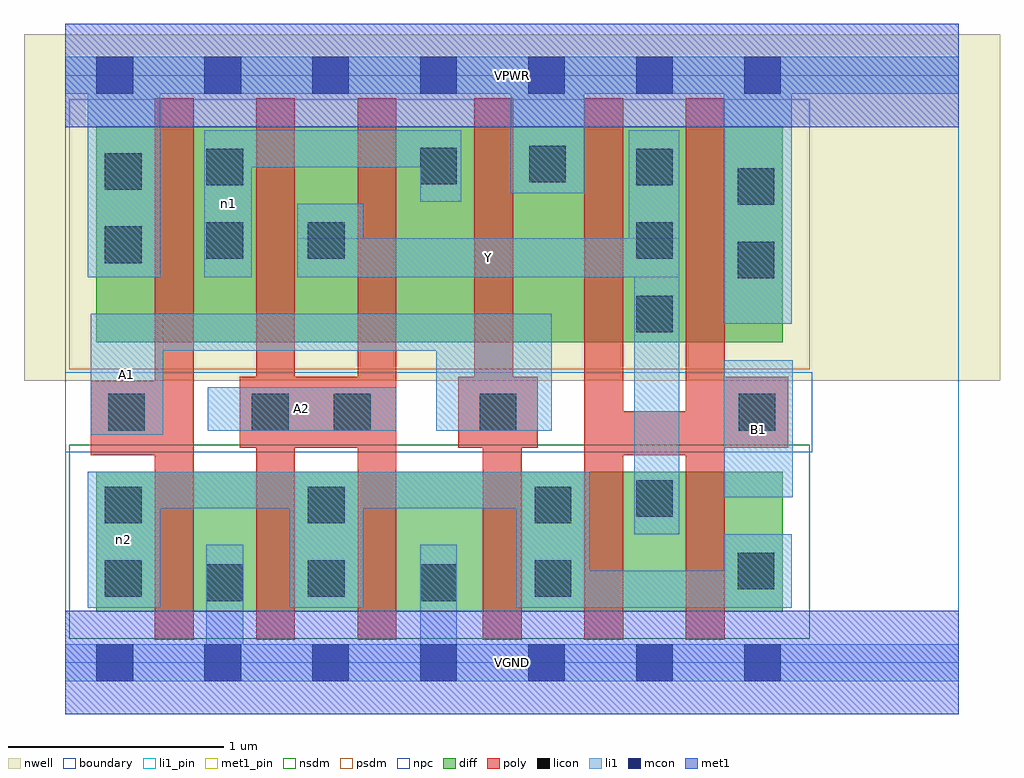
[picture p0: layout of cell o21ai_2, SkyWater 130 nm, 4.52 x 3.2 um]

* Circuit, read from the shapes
.subckt o21ai_2 A1 A2 B1 VGND VPWR Y n1 n2
XM1 VGND A1 n2 VSUBS sky130_fd_pr__nfet_01v8 w=0.65 l=0.18 m=2
XM2 n2 A2 VGND VSUBS sky130_fd_pr__nfet_01v8 w=0.65 l=0.18 m=2
XM3 Y B1 n2 VSUBS sky130_fd_pr__nfet_01v8 w=0.65 l=0.18 m=2
XM4 n1 A1 VPWR n3 sky130_fd_pr__pfet_01v8 w=1 l=0.18 m=2
XM5 Y A2 n1 n3 sky130_fd_pr__pfet_01v8 w=1 l=0.18 m=2
XM6 Y B1 VPWR n3 sky130_fd_pr__pfet_01v8 w=1 l=0.18 m=2
.ends

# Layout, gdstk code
import gdstk
lib = gdstk.Library(unit=1e-6, precision=1e-09)
def R(c, l, rs):  # rectangles x0, y0, x1, y1
    for r in rs: c.add(gdstk.rectangle(r[:2], r[2:], *l))
def A(c, l, x, y, w, h, nx, ny, dx, dy):  # array of equal rectangles
    R(c, l, [(x+i*dx, y+j*dy, x+i*dx+w, y+j*dy+h) for i in range(nx) for j in range(ny)])
nwell = (64, 20)
diff = (65, 20)
poly = (66, 20)
licon = (66, 44)
li1_pin = (67, 16)
li1 = (67, 20)
mcon = (67, 44)
met1_pin = (68, 16)
met1 = (68, 20)
nsdm = (93, 44)
psdm = (94, 20)
npc = (95, 20)
boundary = (235, 4)

o21ai_2 = lib.new_cell('o21ai_2')
R(o21ai_2, nwell, [(-0.19,1.305,4.33,2.91), (0,1.305,4.14,2.91)])
R(o21ai_2, diff, [(0.145,0.235,3.325,0.885), (0.145,1.485,3.325,2.485)])
A(o21ai_2, poly, 0.415, 0.105, 0.18, 2.51, 3, 1, 0.47, 0)
R(o21ai_2, poly, [(1.935,0.105,2.115,1.325), (2.405,0.105,2.585,2.615), (2.875,0.105,3.055,2.615), (0.12,0.96,0.595,1.305), (2.405,0.96,3.055,1.165), (0.81,0.995,1.535,1.325), (1.82,0.995,2.19,1.325), (1.895,0.995,2.075,2.615), (2.875,0.995,3.35,1.325)])
A(o21ai_2, licon, 2.645, 1.53, 0.17, 0.17, 1, 3, 0, 0.34)
R(o21ai_2, licon, [(0.655,0.285,0.825,0.455), (1.645,0.285,1.815,0.455), (0.185,0.305,0.355,0.475), (1.125,0.305,1.295,0.475), (2.175,0.305,2.345,0.475), (3.115,0.34,3.285,0.51), (0.185,0.645,0.355,0.815), (1.125,0.645,1.295,0.815), (2.175,0.645,2.345,0.815), (2.645,0.675,2.815,0.845), (0.2,1.075,0.37,1.245), (0.865,1.075,1.035,1.245), (1.245,1.075,1.415,1.245), (1.92,1.075,2.09,1.245), (3.12,1.075,3.29,1.245), (3.115,1.78,3.285,1.95), (0.185,1.85,0.355,2.02), (0.655,1.87,0.825,2.04), (1.125,1.87,1.295,2.04), (3.115,2.12,3.285,2.29), (0.185,2.19,0.355,2.36), (0.655,2.21,0.825,2.38), (1.645,2.215,1.815,2.385), (2.15,2.225,2.32,2.395)])
R(o21ai_2, li1_pin, [(3.05,0.765,3.37,1.4), (0.12,1.055,0.455,1.615), (0.66,1.075,1.535,1.275), (1.075,1.785,2.845,1.965)])
R(o21ai_2, li1, [(0,-0.085,4.14,0.085), (0.655,-0.085,0.825,0.545), (1.645,-0.085,1.815,0.545), (0.105,0.255,0.44,0.885), (1.04,0.255,1.38,0.885), (2.09,0.255,2.43,0.885), (2.09,0.255,3.365,0.425), (3.05,0.255,3.365,0.595), (2.635,0.595,2.845,2.465), (0.105,0.715,2.43,0.885), (3.05,0.765,3.37,1.4), (0.12,1.055,0.455,1.615), (0.66,1.075,1.535,1.275), (1.72,1.075,2.255,1.615), (0.12,1.445,2.255,1.615), (3.05,1.57,3.365,2.805), (0.105,1.785,0.44,2.805), (0.645,1.785,0.865,2.465), (1.075,1.785,2.845,1.965), (1.075,1.785,1.38,2.125), (2.61,1.785,2.845,2.465), (1.645,2.135,1.835,2.465), (2.065,2.175,2.405,2.805), (0.645,2.295,1.835,2.465), (0,2.635,4.14,2.805)])
A(o21ai_2, mcon, 0.145, -0.085, 0.17, 0.17, 7, 2, 0.5, 2.72)
R(o21ai_2, met1_pin, [(0,-0.24,4.14,0.24), (0,2.48,4.14,2.96)])
R(o21ai_2, met1, [(0,-0.24,4.14,0.24), (0,2.48,4.14,2.96)])
R(o21ai_2, nsdm, [(0.02,0.11,3.45,1.01)])
R(o21ai_2, psdm, [(0.02,1.36,3.45,2.61)])
R(o21ai_2, npc, [(0,0.975,3.46,1.345)])
R(o21ai_2, boundary, [(0,0,4.14,2.72)])
o21ai_2.add(gdstk.Label('A1', (0.287,1.335), layer=67, texttype=5))
o21ai_2.add(gdstk.Label('A2', (1.097,1.175), layer=67, texttype=5))
o21ai_2.add(gdstk.Label('B1', (3.21,1.082), layer=67, texttype=5))
o21ai_2.add(gdstk.Label('Y', (1.96,1.875), layer=67, texttype=5))
o21ai_2.add(gdstk.Label('n2', (0.272,0.57), layer=67, texttype=5))
o21ai_2.add(gdstk.Label('n1', (0.755,2.125), layer=67, texttype=5))
o21ai_2.add(gdstk.Label('VPWR', (2.07,2.72), layer=68, texttype=5))
o21ai_2.add(gdstk.Label('VGND', (2.07,0), layer=68, texttype=5))
o21ai_2.add(gdstk.Label('A1', (0.287,1.335), layer=67, texttype=16))
o21ai_2.add(gdstk.Label('A2', (1.097,1.175), layer=67, texttype=16))
o21ai_2.add(gdstk.Label('B1', (3.21,1.082), layer=67, texttype=16))
o21ai_2.add(gdstk.Label('Y', (1.96,1.875), layer=67, texttype=16))
o21ai_2.add(gdstk.Label('VPWR', (2.07,2.72), layer=68, texttype=16))
o21ai_2.add(gdstk.Label('VGND', (2.07,0), layer=68, texttype=16))

lib.write_gds('o21ai_2.gds')
